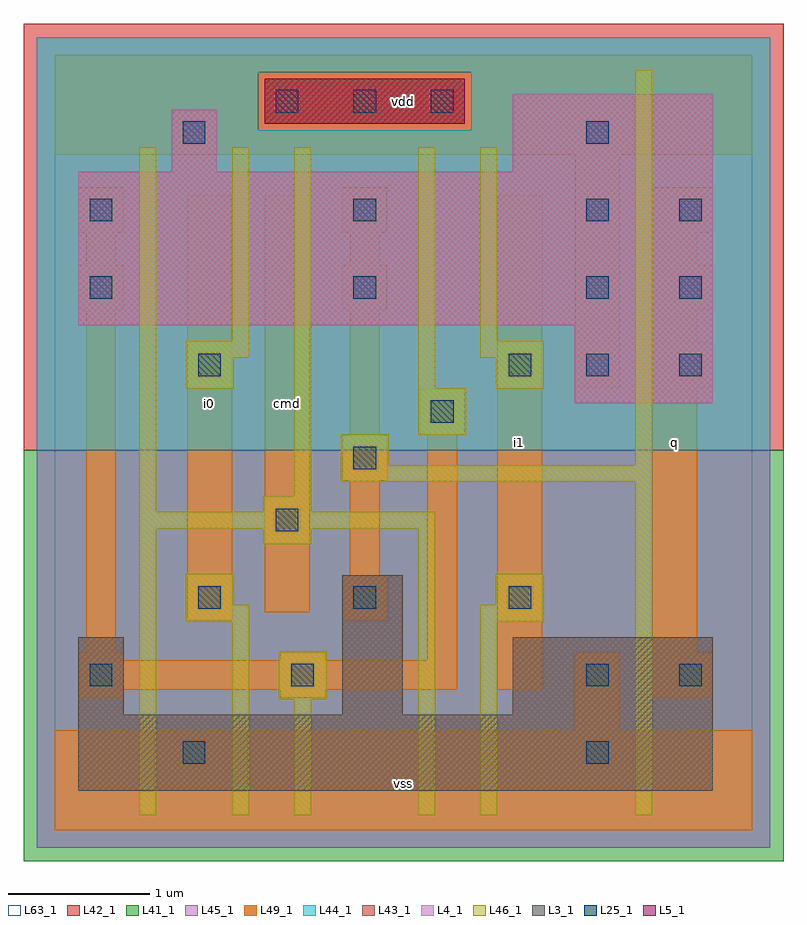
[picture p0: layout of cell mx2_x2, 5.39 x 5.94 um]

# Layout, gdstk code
import gdstk
lib = gdstk.Library(unit=1e-6, precision=1e-09)
def R(c, l, rs):  # rectangles x0, y0, x1, y1
    for r in rs: c.add(gdstk.rectangle(r[:2], r[2:], *l))
def A(c, l, x, y, w, h, nx, ny, dx, dy):  # array of equal rectangles
    R(c, l, [(x+i*dx, y+j*dy, x+i*dx+w, y+j*dy+h) for i in range(nx) for j in range(ny)])
L3_1 = (3, 1)
L4_1 = (4, 1)
L5_1 = (5, 1)
L25_1 = (25, 1)
L41_1 = (41, 1)
L42_1 = (42, 1)
L43_1 = (43, 1)
L44_1 = (44, 1)
L45_1 = (45, 1)
L46_1 = (46, 1)
L49_1 = (49, 1)
L63_1 = (63, 1)

mx2_x2 = lib.new_cell('mx2_x2')
R(mx2_x2, L3_1, [(0.17,0.28,4.67,0.82), (0.17,0.82,0.49,1.37), (2.04,0.82,2.47,1.81), (3.25,0.82,4.67,1.37)])
R(mx2_x2, L4_1, [(3.69,3.03,4.67,3.58), (0.17,3.58,4.67,4.67), (0.83,4.67,1.15,5.11), (3.25,4.67,4.67,5.22)])
R(mx2_x2, L5_1, [(1.49,5.01,2.91,5.33)])
A(mx2_x2, L25_1, 1.02, 1.57, 0.16, 0.16, 3, 1, 1.1, 0)
A(mx2_x2, L25_1, 3.77, 3.22, 0.16, 0.16, 1, 4, 0, 0.55)
A(mx2_x2, L25_1, 4.43, 3.22, 0.16, 0.16, 1, 3, 0, 0.55)
A(mx2_x2, L25_1, 1.57, 5.09, 0.16, 0.16, 3, 1, 0.55, 0)
R(mx2_x2, L25_1, [(0.91,0.47,1.07,0.63), (3.77,0.47,3.93,0.63), (0.25,1.02,0.41,1.18), (1.68,1.02,1.84,1.18), (3.77,1.02,3.93,1.18), (4.43,1.02,4.59,1.18), (1.57,2.12,1.73,2.28), (2.12,2.56,2.28,2.72), (2.67,2.89,2.83,3.05), (1.02,3.22,1.18,3.38), (3.22,3.22,3.38,3.38), (0.25,3.77,0.41,3.93), (2.12,3.77,2.28,3.93), (0.25,4.32,0.41,4.48), (2.12,4.32,2.28,4.48), (0.91,4.87,1.07,5.03)])
R(mx2_x2, L41_1, [(-0.22,-0.22,5.17,2.695)])
R(mx2_x2, L42_1, [(-0.22,2.695,5.17,5.72)])
R(mx2_x2, L43_1, [(0.17,0.28,4.67,0.82), (0.17,0.82,0.49,1.37), (2.04,0.82,2.47,1.81), (3.25,0.82,4.67,1.37), (3.69,3.03,4.67,3.58), (0.17,3.58,4.67,4.67), (0.83,4.67,1.15,5.11), (3.25,4.67,4.67,5.22), (1.49,5.01,2.91,5.33)])
R(mx2_x2, L44_1, [(-0.125,2.695,5.075,4.965), (-0.125,4.965,1.445,5.375), (2.955,4.965,5.075,5.375), (-0.125,5.375,5.075,5.625)])
R(mx2_x2, L45_1, [(-0.125,-0.125,5.075,2.695), (1.445,4.965,2.955,5.375)])
R(mx2_x2, L46_1, [(0.6,0.105,0.72,2.14), (1.26,0.105,1.38,1.48), (1.7,0.105,1.82,0.93), (2.58,0.105,2.7,2.14), (3.02,0.105,3.14,1.48), (4.12,0.105,4.24,2.47), (1.59,0.93,1.93,1.27), (0.93,1.48,1.38,1.6), (3.02,1.48,3.47,1.6), (0.93,1.6,1.27,1.82), (3.13,1.6,3.47,1.82), (1.48,2.03,1.82,2.14), (0.6,2.14,2.7,2.26), (0.6,2.26,0.72,4.845), (1.48,2.26,1.82,2.37), (1.7,2.37,1.82,4.845), (2.03,2.47,4.24,2.59), (2.03,2.59,2.37,2.81), (4.12,2.59,4.24,5.395), (2.58,2.8,2.92,3.14), (0.93,3.13,1.27,3.35), (3.13,3.13,3.47,3.35), (2.58,3.14,2.7,4.845), (0.93,3.35,1.38,3.47), (3.02,3.35,3.47,3.47), (1.26,3.47,1.38,4.845), (3.02,3.47,3.14,4.845)])
A(mx2_x2, L49_1, 4.24, 3.14, 0.43, 0.32, 1, 3, 0, 0.55)
R(mx2_x2, L49_1, [(0,0,4.95,0.71), (3.69,0.71,4.01,1.26), (0.17,0.94,0.49,0.995), (1.6,0.94,1.92,0.995), (4.24,0.94,4.67,1.26), (0.17,0.995,2.855,1.205), (3.14,0.995,3.46,4.505), (0.17,1.205,0.49,1.26), (1.6,1.205,1.92,1.26), (2.645,1.205,2.855,2.81), (0.225,1.26,0.435,3.69), (4.24,1.26,4.56,3.14), (0.94,1.49,1.26,4.505), (2.04,1.49,2.36,1.81), (1.49,1.545,1.81,4.505), (2.095,1.81,2.305,2.48), (2.04,2.48,2.36,2.8), (2.095,2.8,2.305,3.69), (2.59,2.81,2.91,3.13), (3.69,3.14,4.01,4.79), (4.24,3.46,4.56,3.69), (0.17,3.69,0.49,4.01), (2.04,3.69,2.36,4.01), (0.225,4.01,0.435,4.24), (2.095,4.01,2.305,4.24), (4.24,4.01,4.56,4.24), (0.17,4.24,0.49,4.56), (2.04,4.24,2.36,4.56), (0,4.79,4.95,5.5)])
R(mx2_x2, L63_1, [(0,0,4.95,5.5)])
mx2_x2.add(gdstk.Label('i0', (1.1,3.025), layer=49, texttype=1))
mx2_x2.add(gdstk.Label('i0', (1.1,3.025), layer=49, texttype=1))
mx2_x2.add(gdstk.Label('cmd', (1.65,3.025), layer=49, texttype=1))
mx2_x2.add(gdstk.Label('cmd', (1.65,3.025), layer=49, texttype=1))
mx2_x2.add(gdstk.Label('vss', (2.475,0.33), layer=49, texttype=1))
mx2_x2.add(gdstk.Label('vss', (2.475,0.33), layer=49, texttype=1))
mx2_x2.add(gdstk.Label('i1', (3.3,2.75), layer=49, texttype=1))
mx2_x2.add(gdstk.Label('i1', (3.3,2.75), layer=49, texttype=1))
mx2_x2.add(gdstk.Label('vdd', (2.475,5.17), layer=49, texttype=1))
mx2_x2.add(gdstk.Label('vdd', (2.475,5.17), layer=49, texttype=1))
mx2_x2.add(gdstk.Label('q', (4.4,2.75), layer=49, texttype=1))
mx2_x2.add(gdstk.Label('q', (4.4,2.75), layer=49, texttype=1))

lib.write_gds('mx2_x2.gds')
